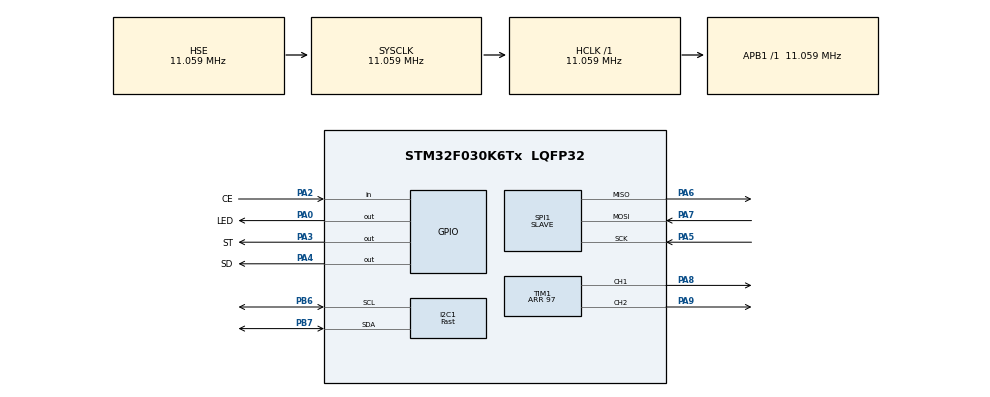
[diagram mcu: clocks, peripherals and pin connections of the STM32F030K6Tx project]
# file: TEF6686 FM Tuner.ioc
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Dma.Request0=TIM16_CH1/UP
Dma.Request1=TIM1_CH3/UP
Dma.TIM16_CH1/UP.0.Direction=DMA_MEMORY_TO_PERIPH
Dma.TIM16_CH1/UP.0.Instance=DMA1_Channel4
Dma.TIM16_CH1/UP.0.MemDataAlignment=DMA_MDATAALIGN_HALFWORD
Dma.TIM16_CH1/UP.0.MemInc=DMA_MINC_ENABLE
Dma.TIM16_CH1/UP.0.Mode=DMA_CIRCULAR
Dma.TIM16_CH1/UP.0.PeriphDataAlignment=DMA_PDATAALIGN_HALFWORD
Dma.TIM16_CH1/UP.0.PeriphInc=DMA_PINC_DISABLE
Dma.TIM16_CH1/UP.0.Priority=DMA_PRIORITY_LOW
Dma.TIM1_CH3/UP.1.Direction=DMA_MEMORY_TO_PERIPH
Dma.TIM1_CH3/UP.1.Instance=DMA1_Channel5
Dma.TIM1_CH3/UP.1.MemDataAlignment=DMA_MDATAALIGN_BYTE
Dma.TIM1_CH3/UP.1.MemInc=DMA_MINC_ENABLE
Dma.TIM1_CH3/UP.1.Mode=DMA_CIRCULAR
Dma.TIM1_CH3/UP.1.PeriphDataAlignment=DMA_PDATAALIGN_HALFWORD
Dma.TIM1_CH3/UP.1.PeriphInc=DMA_PINC_DISABLE
Dma.TIM1_CH3/UP.1.Priority=DMA_PRIORITY_LOW
I2C1.AddressingMode=I2C_ADDRESSINGMODE_7BIT
I2C1.Analog_Filter=I2C_ANALOGFILTER_ENABLE
I2C1.DualAddressMode=I2C_DUALADDRESS_DISABLE
I2C1.GeneralCallMode=I2C_GENERALCALL_DISABLE
I2C1.I2C_Coeff_DF=0
I2C1.I2C_Fall_Time=0
I2C1.I2C_Rise_Time=0
I2C1.I2C_Speed_Mode=I2C_Fast
I2C1.NoStretchMode=I2C_NOSTRETCH_DISABLE
I2C1.OwnAddress=0
I2C1.Speed=400
I2C1.Timing=0x00100411
Mcu.Family=STM32F0
Mcu.Name=STM32F030K6Tx
Mcu.Package=LQFP32
NVIC.DMA1_Channel4_5_IRQn=true\:3\:0\:true\:false\:true\:false\:true
NVIC.SPI1_IRQn=true\:1\:0\:true\:false\:false\:true\:false
PA0.GPIO_Label=LED
PA0.Signal=GPIO_Output
PA2.GPIO_Label=CE
PA2.Signal=GPIO_Input
PA3.GPIO_Label=ST
PA3.GPIO_ModeDefaultOutputPP=GPIO_MODE_OUTPUT_PP
PA3.GPIO_PuPd=GPIO_NOPULL
PA3.GPIO_Speed=GPIO_SPEED_FREQ_LOW
PA3.PinState=GPIO_PIN_RESET
PA3.Signal=GPIO_Output
PA4.GPIO_Label=SD
PA4.Signal=GPIO_Output
PA5.GPIO_Mode=GPIO_MODE_AF_PP
PA5.GPIO_PuPd=GPIO_NOPULL
PA5.GPIO_Speed=GPIO_SPEED_FREQ_LOW
PA5.Mode=Full_Duplex_Slave
PA5.Signal=SPI1_SCK
PA6.GPIO_Mode=GPIO_MODE_AF_PP
PA6.GPIO_PuPd=GPIO_NOPULL
PA6.GPIO_Speed=GPIO_SPEED_FREQ_LOW
PA6.Mode=Full_Duplex_Slave
PA6.Signal=SPI1_MISO
PA7.GPIO_Mode=GPIO_MODE_AF_PP
PA7.GPIO_PuPd=GPIO_NOPULL
PA7.GPIO_Speed=GPIO_SPEED_FREQ_LOW
PA7.Mode=Full_Duplex_Slave
PA7.Signal=SPI1_MOSI
PA8.Signal=S_TIM1_CH1
PA9.Signal=S_TIM1_CH2
PB6.GPIO_FMA9=__NULL
PB6.GPIO_Mode=GPIO_MODE_AF_OD
PB6.GPIO_PuPdOD=GPIO_PULLUP
PB6.GPIO_Speed=GPIO_SPEED_FREQ_LOW
PB6.Mode=I2C
PB6.Signal=I2C1_SCL
PB7.GPIO_FMA10=__NULL
PB7.GPIO_Mode=GPIO_MODE_AF_OD
PB7.GPIO_PuPdOD=GPIO_PULLUP
PB7.GPIO_Speed=GPIO_SPEED_FREQ_LOW
PB7.Mode=I2C
PB7.Signal=I2C1_SDA
PF0-OSC_IN.Mode=HSE-External-Oscillator
PF0-OSC_IN.Signal=RCC_OSC_IN
PF1-OSC_OUT.Mode=HSE-External-Oscillator
PF1-OSC_OUT.Signal=RCC_OSC_OUT
ProjectManager.HeapSize=0x200
ProjectManager.StackSize=0x400
ProjectManager.TargetToolchain=EWARM V8.32
RCC.AHBFreq_Value=11059200
RCC.APB1Freq_Value=11059200
RCC.APB1TimFreq_Value=11059200
RCC.HCLKFreq_Value=11059200
RCC.HSE_VALUE=11059200
RCC.I2c1ClockSelection=RCC_I2C1CLKSOURCE_SYSCLK
RCC.SYSCLKFreq_VALUE=11059200
RCC.SYSCLKSource=RCC_SYSCLKSOURCE_HSE
SH.S_TIM1_CH1.0=TIM1_CH1,PWM Generation1 CH1
SH.S_TIM1_CH2.0=TIM1_CH2,PWM Generation2 CH2
SPI1.CLKPhase=SPI_PHASE_2EDGE
SPI1.CLKPolarity=SPI_POLARITY_HIGH
SPI1.CRCCalculation=SPI_CRCCALCULATION_DISABLE
SPI1.DataSize=SPI_DATASIZE_8BIT
SPI1.Direction=SPI_DIRECTION_2LINES
SPI1.FirstBit=SPI_FIRSTBIT_LSB
SPI1.Mode=SPI_MODE_SLAVE
SPI1.NSS=SPI_NSS_SOFT
SPI1.TIMode=SPI_TIMODE_DISABLE
SPI1.VirtualType=VM_SLAVE
TIM1.Channel-PWM\ Generation1\ CH1=TIM_CHANNEL_1
TIM1.Channel-PWM\ Generation2\ CH2=TIM_CHANNEL_2
TIM1.CounterMode=TIM_COUNTERMODE_CENTERALIGNED1
TIM1.Period=97
TIM1.Pulse-PWM\ Generation1\ CH1=0
TIM1.Pulse-PWM\ Generation2\ CH2=0
TIM1.RepetitionCounter=1
TIM16.Channel=TIM_CHANNEL_1
TIM16.Period=4655
TIM16.Pulse=2715
VP_TIM16_VS_ClockSourceINT.Mode=Enable_Timer
VP_TIM16_VS_no_output1.Mode=PWM Generation1 No Output
board=custom

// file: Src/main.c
/* USER CODE BEGIN Header */
/**
  ******************************************************************************
  * @file           : main.c
  * @brief          : Main program body
  ******************************************************************************
  * @attention
  *
  * <h2><center>&copy; Copyright (c) 2019 STMicroelectronics.
  * All rights reserved.</center></h2>
  *
  * This software component is licensed by ST under BSD 3-Clause license,
  * the "License"; You may not use this file except in compliance with the
  * License. You may obtain a copy of the License at:
  *                        opensource.org/licenses/BSD-3-Clause
  *
  ******************************************************************************
  */
/* USER CODE END Header */

#include "main.h"

/* USER CODE BEGIN PTD */
typedef struct
{
  uint32_t address;
  uint8_t data[3];
  uint32_t bytes_received;
} ccb_t;

typedef enum
{
  MONO,
  STEREO
} tuner_mode;
/* USER CODE END PTD */

I2C_HandleTypeDef hi2c1;

TIM_HandleTypeDef htim1;
TIM_HandleTypeDef htim16;
DMA_HandleTypeDef hdma_tim1_ch3_up;
DMA_HandleTypeDef hdma_tim16_ch1_up;

/* USER CODE BEGIN PV */

//const uint8_t ccb_if_counter[] = {0x58, 0xCE, 0x80}; // bit-reversed from 0x1A7300+1 (IF=10,7MHz)
const uint8_t ccb_if_counter[] = {0x58, 0x66, 0x81}; // bit-reversed from 0x1A6680+1 (IF=10,65MHz, real value read from my Technics SA-EH570)

bool radio_tuned = true;
volatile uint32_t tuner_frequency_new = 0;
uint32_t tuner_frequency_prev = 0;
volatile tuner_mode tuner_mode_new = STEREO;
tuner_mode tuner_mode_prev = STEREO;
uint32_t stereo_detection_delay_counter = 0;
bool stereo_detection_enabled = false;

volatile ccb_t ccb = {0};
//volatile uint32_t ccb_bytes_received = 0;

extern HAL_StatusTypeDef status;
extern uint8_t radio_response[16];

#ifdef __CCB_DEBUG__
uint8_t ccb_captured_data[36];
#endif
/* USER CODE END PV */

void SystemClock_Config(void);
static void MX_GPIO_Init(void);
static void MX_DMA_Init(void);
static void MX_I2C1_Init(void);
static void MX_SPI1_Init(void);
static void MX_TIM1_Init(void);
static void MX_TIM16_Init(void);

/* USER CODE BEGIN 0 */
void quality_indicator( bool enabled )
{
  // just green LED indicator used to control signal quality
  HAL_GPIO_WritePin( ST_GPIO_Port, LED_Pin, enabled ? GPIO_PIN_SET : GPIO_PIN_RESET );
}

void tuned_indicator( bool enabled )
{
  // set SD=0 to indicate that the carrier is detected
  HAL_GPIO_WritePin( SD_GPIO_Port, SD_Pin, enabled ? GPIO_PIN_RESET : GPIO_PIN_SET );
  quality_indicator( enabled );
}

void stereo_indicator( bool enabled )
{
  // DO/ST line has two main purposes:
  // 1) stereo indicator when radio is tuned (ST=0 when pilot tone is detected)
  // 2) IF counter stop flag when radio tune is in progress (DO=0 when counter is stopped)
  HAL_GPIO_WritePin( ST_GPIO_Port, ST_Pin, enabled ? GPIO_PIN_RESET : GPIO_PIN_SET );
}

//void HAL_TIM_PWM_PulseFinishedHalfCpltCallback(TIM_HandleTypeDef *htim)
//void HAL_TIM_PWM_PulseFinishedCallback(TIM_HandleTypeDef *htim)

void HAL_TIM_PeriodElapsedHalfCpltCallback(TIM_HandleTypeDef *htim)
{
  if( htim->Instance == TIM1 )
    create_waveform( 1 ); // rewrite first section
}

void HAL_TIM_PeriodElapsedCallback(TIM_HandleTypeDef *htim)
{
  if( htim->Instance == TIM1 )
    create_waveform( 2 ); // rewrite second section
}

void SPI1_IRQHandler() // this interrupt must have the highest priority level to correctly detect CE line state
{
  if( HAL_GPIO_ReadPin( CE_GPIO_Port, CE_Pin ) == GPIO_PIN_RESET ) // address
  {
    ccb.address = LL_SPI_ReceiveData8( SPI1 );
    ccb.bytes_received = 0;

    if( ccb.address == 0x2A ) // IF counter read requested
    {
      ccb.address = 0;

      LL_SPI_TransmitData8( SPI1, ccb_if_counter[0] );
      LL_SPI_TransmitData8( SPI1, ccb_if_counter[1] );
      LL_SPI_TransmitData8( SPI1, ccb_if_counter[2] );

      stereo_indicator( false );
    }
  }
  else // data
  {
    if( ccb.bytes_received < 3 )
    {
      ccb.data[ccb.bytes_received] = LL_SPI_ReceiveData8( SPI1 );
      ccb.bytes_received++;
    }

    if( ccb.bytes_received == 3 )
    {
      if( ccb.address == 0x28 && ccb.data[2] == 0x3B ) // tuner frequency set
      {
        tuner_frequency_new = *(uint16_t*)&ccb.data[0];
      }
      else if(ccb.address == 0x28 && ccb.data[2] == 0x3F ) // IF count started
      {
        stereo_indicator( true ); // used here as the IF counter stop flag, triggers IF counter read operation
      }
      else if( ccb.address == 0x29 && ccb.data[1] == 0x00 && ccb.data[2] == 0x13 ) // mono/stereo selection performed
      {
        if( ccb.data[0] == 0xAF )
          tuner_mode_new = MONO;
        else if( ccb.data[0] == 0xA7 )
          tuner_mode_new = STEREO;
      }
    }
  }
}
/* USER CODE END 0 */

int main(void)
{

  /* MCU Configuration--------------------------------------------------------*/

  /* Reset of all peripherals, Initializes the Flash interface and the Systick. */
  HAL_Init();

  /* Configure the system clock */
  SystemClock_Config();

  /* Initialize all configured peripherals */
  MX_GPIO_Init();
  MX_DMA_Init();
  MX_I2C1_Init();
  MX_SPI1_Init();
  MX_TIM1_Init();
  MX_TIM16_Init();
  /* USER CODE BEGIN 2 */

  HAL_Delay( 50 ); // delay for correct powerup

  // CCB is not fully compatible with SPI
  // When the main module has been powered on, CCB bus clock line has an incorrect idle value = 0
  // so all next readings will be erroneously shifted by 1 bit
  // Lets skip the first 7 pulses to keep SPI syncing in a right way
  // It is really convenient that we can read the AF pin as usual I/O
  if( HAL_GPIO_ReadPin(CCB_CL_PORT, CCB_CL) == GPIO_PIN_RESET )
  {
    while( (CCB_CL_PORT->IDR & CCB_CL) == 0 );

    for( int i = 0; i < 7; i++ )
    {
      while( (CCB_CL_PORT->IDR & CCB_CL) != 0 );
      while( (CCB_CL_PORT->IDR & CCB_CL) == 0 );
    }
  }

  LL_SPI_Enable( SPI1 ); // Enable SPI as soon as possible to keep the bus in sync with the main CPU
  LL_SPI_EnableIT_RXNE( SPI1 );
  LL_SPI_TransmitData8( SPI1, 0xFF ); // switch MISO/DO to high level as a default
  stereo_indicator( false );

  if( radio_get_status() == 0x0000 ) // if radio is not initialized yet
    radio_init();

  radio_set_freq( 10620 );
  rds_init( &htim1, &htim16 );

#ifdef __CCB_DEBUG__
  uint32_t i = 0;
  LL_SPI_DisableIT_RXNE( SPI1 );

  while(1)
  {
    // use ST-LINK debugger to stop the loop and view captured data
    if( LL_SPI_GetRxFIFOLevel(SPI1) != LL_SPI_RX_FIFO_EMPTY )
    {
      ccb_captured_data[i++] = LL_SPI_ReceiveData8( SPI1 );

      if( i == sizeof(ccb_captured_data) )
        i = 0;
    }
  }
#endif

#ifdef __RADIO_DEBUG__
  bool led = false;
  uint16_t level, usn, wam;

  while(1)
  {
    radio_set_freq( 10500 );
    HAL_Delay( 50 );
    uint16_t status = radio_get_quality_status();
    radio_set_freq( 10570 );
    HAL_Delay( 50 );
    status = radio_get_quality_status();
    // use ST-LINK debugger to stop the loop and show signal level
    led = radio_station_detected();
    quality_indicator( led );
    level = swap( &radio_response[4] ); // RADIO_LEVEL_THRESHOLD > 300
    usn = swap( &radio_response[6] ); // RADIO_USN_THRESHOLD < 270
    wam = swap( &radio_response[8] ); // RADIO_WAM_THRESHOLD < 230

    HAL_Delay( 100 );
  }
#endif

  /* USER CODE END 2 */

  /* Infinite loop */
  /* USER CODE BEGIN WHILE */
  while (1)
  {
    uint32_t tick = HAL_GetTick();
    /* USER CODE END WHILE */

    /* USER CODE BEGIN 3 */
    if( tuner_mode_new != tuner_mode_prev )
    {
      tuner_mode_prev = tuner_mode_new;
      // It is not needed to force mono mode manually because radio will aggressively force it in case of poor signal detection
      // So MONO button will switch off the digital signal enhancement features. It is useful for antenna setup
      radio_set_improvement( tuner_mode_new == STEREO );
      //radio_set_stereo( tuner_mode_new == STEREO );
    }

    if( tuner_frequency_new != tuner_frequency_prev )
    {
      tuner_frequency_prev = tuner_frequency_new;
      radio_set_freq( (tuner_frequency_new * 25 * 2 - VIRTUAL_IF_FREQUENCY) / 10 );

      tuned_indicator( false );
      stereo_indicator( false );
      radio_tuned = false;
      stereo_detection_enabled = false;
      stereo_detection_delay_counter = tick;
      rds_clear();
    }

    if( !radio_tuned && (tick % RADIO_TUNE_POLL_INTERVAL == 0) )
    {
      if( radio_get_quality_status() == 1000 )
      {
        radio_tuned = true;
        tuned_indicator( radio_station_detected() );
      }
    }

    if( radio_tuned && !stereo_detection_enabled && (tick - stereo_detection_delay_counter > STEREO_DETECTION_DELAY) )
      stereo_detection_enabled = true;

    if( stereo_detection_enabled && (tick % RADIO_STEREO_POLL_INTERVAL == 0) )
      stereo_indicator( radio_get_signal_status() == 0x8000 );

    if( stereo_detection_enabled && (tick % RADIO_RDS_POLL_INTERVAL == 0) )
    {
      radio_get_rds_data();

      // if data available, full group data received and decoder synchronized
      if( (radio_response[2] & 0xA2) == 0x82) // 10100010b
        // if no errors in any group or there were small errors that were corrected
        if( (radio_response[12] & 0xAA) == 0x00 ) // 10101010b
          rds_add( radio_response );
    }

    if( stereo_detection_enabled && (tuner_mode_new == MONO) && (tick % RADIO_QUALITY_POLL_INTERVAL == 0) )
       quality_indicator( radio_station_detected() );

    while( HAL_GetTick() == tick )
      HAL_PWR_EnterSLEEPMode( PWR_MAINREGULATOR_ON, PWR_SLEEPENTRY_WFI );
  }
  /* USER CODE END 3 */
}

void SystemClock_Config(void)
{
  RCC_OscInitTypeDef RCC_OscInitStruct = {0};
  RCC_ClkInitTypeDef RCC_ClkInitStruct = {0};
  RCC_PeriphCLKInitTypeDef PeriphClkInit = {0};

  /** Initializes the CPU, AHB and APB busses clocks
  */
  RCC_OscInitStruct.OscillatorType = RCC_OSCILLATORTYPE_HSE;
  RCC_OscInitStruct.HSEState = RCC_HSE_ON;
  RCC_OscInitStruct.PLL.PLLState = RCC_PLL_NONE;
  if (HAL_RCC_OscConfig(&RCC_OscInitStruct) != HAL_OK)
  {
    Error_Handler();
  }
  /** Initializes the CPU, AHB and APB busses clocks
  */
  RCC_ClkInitStruct.ClockType = RCC_CLOCKTYPE_HCLK|RCC_CLOCKTYPE_SYSCLK
                              |RCC_CLOCKTYPE_PCLK1;
  RCC_ClkInitStruct.SYSCLKSource = RCC_SYSCLKSOURCE_HSE;
  RCC_ClkInitStruct.AHBCLKDivider = RCC_SYSCLK_DIV1;
  RCC_ClkInitStruct.APB1CLKDivider = RCC_HCLK_DIV1;

  if (HAL_RCC_ClockConfig(&RCC_ClkInitStruct, FLASH_LATENCY_0) != HAL_OK)
  {
    Error_Handler();
  }
  PeriphClkInit.PeriphClockSelection = RCC_PERIPHCLK_I2C1;
  PeriphClkInit.I2c1ClockSelection = RCC_I2C1CLKSOURCE_SYSCLK;
  if (HAL_RCCEx_PeriphCLKConfig(&PeriphClkInit) != HAL_OK)
  {
    Error_Handler();
  }
}

static void MX_I2C1_Init(void)
{

  hi2c1.Instance = I2C1;
  hi2c1.Init.Timing = 0x00100411;
  hi2c1.Init.OwnAddress1 = 0;
  hi2c1.Init.AddressingMode = I2C_ADDRESSINGMODE_7BIT;
  hi2c1.Init.DualAddressMode = I2C_DUALADDRESS_DISABLE;
  hi2c1.Init.OwnAddress2 = 0;
  hi2c1.Init.OwnAddress2Masks = I2C_OA2_NOMASK;
  hi2c1.Init.GeneralCallMode = I2C_GENERALCALL_DISABLE;
  hi2c1.Init.NoStretchMode = I2C_NOSTRETCH_DISABLE;
  if (HAL_I2C_Init(&hi2c1) != HAL_OK)
  {
    Error_Handler();
  }
  /** Configure Analogue filter
  */
  if (HAL_I2CEx_ConfigAnalogFilter(&hi2c1, I2C_ANALOGFILTER_ENABLE) != HAL_OK)
  {
    Error_Handler();
  }
  /** Configure Digital filter
  */
  if (HAL_I2CEx_ConfigDigitalFilter(&hi2c1, 0) != HAL_OK)
  {
    Error_Handler();
  }

}

static void MX_SPI1_Init(void)
{

  LL_SPI_InitTypeDef SPI_InitStruct = {0};

  LL_GPIO_InitTypeDef GPIO_InitStruct = {0};

  /* Peripheral clock enable */
  LL_APB1_GRP2_EnableClock(LL_APB1_GRP2_PERIPH_SPI1);

  LL_AHB1_GRP1_EnableClock(LL_AHB1_GRP1_PERIPH_GPIOA);
  /**SPI1 GPIO Configuration
  PA5   ------> SPI1_SCK
  PA6   ------> SPI1_MISO
  PA7   ------> SPI1_MOSI
  */
  GPIO_InitStruct.Pin = LL_GPIO_PIN_5;
  GPIO_InitStruct.Mode = LL_GPIO_MODE_ALTERNATE;
  GPIO_InitStruct.Speed = LL_GPIO_SPEED_FREQ_LOW;
  GPIO_InitStruct.OutputType = LL_GPIO_OUTPUT_PUSHPULL;
  GPIO_InitStruct.Pull = LL_GPIO_PULL_NO;
  GPIO_InitStruct.Alternate = LL_GPIO_AF_0;
  LL_GPIO_Init(GPIOA, &GPIO_InitStruct);

  GPIO_InitStruct.Pin = LL_GPIO_PIN_6;
  GPIO_InitStruct.Mode = LL_GPIO_MODE_ALTERNATE;
  GPIO_InitStruct.Speed = LL_GPIO_SPEED_FREQ_LOW;
  GPIO_InitStruct.OutputType = LL_GPIO_OUTPUT_PUSHPULL;
  GPIO_InitStruct.Pull = LL_GPIO_PULL_NO;
  GPIO_InitStruct.Alternate = LL_GPIO_AF_0;
  LL_GPIO_Init(GPIOA, &GPIO_InitStruct);

  GPIO_InitStruct.Pin = LL_GPIO_PIN_7;
  GPIO_InitStruct.Mode = LL_GPIO_MODE_ALTERNATE;
  GPIO_InitStruct.Speed = LL_GPIO_SPEED_FREQ_LOW;
  GPIO_InitStruct.OutputType = LL_GPIO_OUTPUT_PUSHPULL;
  GPIO_InitStruct.Pull = LL_GPIO_PULL_NO;
  GPIO_InitStruct.Alternate = LL_GPIO_AF_0;
  LL_GPIO_Init(GPIOA, &GPIO_InitStruct);

  /* SPI1 interrupt Init */
  NVIC_SetPriority(SPI1_IRQn, 1);
  NVIC_EnableIRQ(SPI1_IRQn);

  /* SPI1 parameter configuration*/
  SPI_InitStruct.TransferDirection = LL_SPI_FULL_DUPLEX;
  SPI_InitStruct.Mode = LL_SPI_MODE_SLAVE;
  SPI_InitStruct.DataWidth = LL_SPI_DATAWIDTH_8BIT;
  SPI_InitStruct.ClockPolarity = LL_SPI_POLARITY_HIGH;
  SPI_InitStruct.ClockPhase = LL_SPI_PHASE_2EDGE;
  SPI_InitStruct.NSS = LL_SPI_NSS_SOFT;
  SPI_InitStruct.BitOrder = LL_SPI_LSB_FIRST;
  SPI_InitStruct.CRCCalculation = LL_SPI_CRCCALCULATION_DISABLE;
  SPI_InitStruct.CRCPoly = 7;
  LL_SPI_Init(SPI1, &SPI_InitStruct);
  LL_SPI_SetStandard(SPI1, LL_SPI_PROTOCOL_MOTOROLA);
  LL_SPI_DisableNSSPulseMgt(SPI1);
  /* USER CODE BEGIN SPI1_Init 2 */
  LL_SPI_SetRxFIFOThreshold( SPI1, LL_SPI_RX_FIFO_TH_QUARTER );
  /* USER CODE END SPI1_Init 2 */

}

static void MX_TIM1_Init(void)
{

  TIM_MasterConfigTypeDef sMasterConfig = {0};
  TIM_OC_InitTypeDef sConfigOC = {0};
  TIM_BreakDeadTimeConfigTypeDef sBreakDeadTimeConfig = {0};

  htim1.Instance = TIM1;
  htim1.Init.Prescaler = 0;
  htim1.Init.CounterMode = TIM_COUNTERMODE_CENTERALIGNED1;
  htim1.Init.Period = 97;
  htim1.Init.ClockDivision = TIM_CLOCKDIVISION_DIV1;
  htim1.Init.RepetitionCounter = 1;
  htim1.Init.AutoReloadPreload = TIM_AUTORELOAD_PRELOAD_DISABLE;
  if (HAL_TIM_PWM_Init(&htim1) != HAL_OK)
  {
    Error_Handler();
  }
  sMasterConfig.MasterOutputTrigger = TIM_TRGO_RESET;
  sMasterConfig.MasterSlaveMode = TIM_MASTERSLAVEMODE_DISABLE;
  if (HAL_TIMEx_MasterConfigSynchronization(&htim1, &sMasterConfig) != HAL_OK)
  {
    Error_Handler();
  }
  sConfigOC.OCMode = TIM_OCMODE_PWM1;
  sConfigOC.Pulse = 0;
  sConfigOC.OCPolarity = TIM_OCPOLARITY_HIGH;
  sConfigOC.OCNPolarity = TIM_OCNPOLARITY_HIGH;
  sConfigOC.OCFastMode = TIM_OCFAST_DISABLE;
  sConfigOC.OCIdleState = TIM_OCIDLESTATE_RESET;
  sConfigOC.OCNIdleState = TIM_OCNIDLESTATE_RESET;
  if (HAL_TIM_PWM_ConfigChannel(&htim1, &sConfigOC, TIM_CHANNEL_1) != HAL_OK)
  {
    Error_Handler();
  }
  if (HAL_TIM_PWM_ConfigChannel(&htim1, &sConfigOC, TIM_CHANNEL_2) != HAL_OK)
  {
    Error_Handler();
  }
  sBreakDeadTimeConfig.OffStateRunMode = TIM_OSSR_DISABLE;
  sBreakDeadTimeConfig.OffStateIDLEMode = TIM_OSSI_DISABLE;
  sBreakDeadTimeConfig.LockLevel = TIM_LOCKLEVEL_OFF;
  sBreakDeadTimeConfig.DeadTime = 0;
  sBreakDeadTimeConfig.BreakState = TIM_BREAK_DISABLE;
  sBreakDeadTimeConfig.BreakPolarity = TIM_BREAKPOLARITY_HIGH;
  sBreakDeadTimeConfig.AutomaticOutput = TIM_AUTOMATICOUTPUT_DISABLE;
  if (HAL_TIMEx_ConfigBreakDeadTime(&htim1, &sBreakDeadTimeConfig) != HAL_OK)
  {
    Error_Handler();
  }
  HAL_TIM_MspPostInit(&htim1);

}

static void MX_TIM16_Init(void)
{

  TIM_OC_InitTypeDef sConfigOC = {0};
  TIM_BreakDeadTimeConfigTypeDef sBreakDeadTimeConfig = {0};

  htim16.Instance = TIM16;
  htim16.Init.Prescaler = 0;
  htim16.Init.CounterMode = TIM_COUNTERMODE_UP;
  htim16.Init.Period = 4655;
  htim16.Init.ClockDivision = TIM_CLOCKDIVISION_DIV1;
  htim16.Init.RepetitionCounter = 0;
  htim16.Init.AutoReloadPreload = TIM_AUTORELOAD_PRELOAD_DISABLE;
  if (HAL_TIM_Base_Init(&htim16) != HAL_OK)
  {
    Error_Handler();
  }
  if (HAL_TIM_PWM_Init(&htim16) != HAL_OK)
  {
    Error_Handler();
  }
  sConfigOC.OCMode = TIM_OCMODE_PWM1;
  sConfigOC.Pulse = 2715;
  sConfigOC.OCPolarity = TIM_OCPOLARITY_HIGH;
  sConfigOC.OCNPolarity = TIM_OCNPOLARITY_HIGH;
  sConfigOC.OCFastMode = TIM_OCFAST_DISABLE;
  sConfigOC.OCIdleState = TIM_OCIDLESTATE_RESET;
  sConfigOC.OCNIdleState = TIM_OCNIDLESTATE_RESET;
  if (HAL_TIM_PWM_ConfigChannel(&htim16, &sConfigOC, TIM_CHANNEL_1) != HAL_OK)
  {
    Error_Handler();
  }
  sBreakDeadTimeConfig.OffStateRunMode = TIM_OSSR_DISABLE;
  sBreakDeadTimeConfig.OffStateIDLEMode = TIM_OSSI_DISABLE;
  sBreakDeadTimeConfig.LockLevel = TIM_LOCKLEVEL_OFF;
  sBreakDeadTimeConfig.DeadTime = 0;
  sBreakDeadTimeConfig.BreakState = TIM_BREAK_DISABLE;
  sBreakDeadTimeConfig.BreakPolarity = TIM_BREAKPOLARITY_HIGH;
  sBreakDeadTimeConfig.AutomaticOutput = TIM_AUTOMATICOUTPUT_DISABLE;
  if (HAL_TIMEx_ConfigBreakDeadTime(&htim16, &sBreakDeadTimeConfig) != HAL_OK)
  {
    Error_Handler();
  }

}

static void MX_DMA_Init(void)
{

  /* DMA controller clock enable */
  __HAL_RCC_DMA1_CLK_ENABLE();

  /* DMA interrupt init */
  /* DMA1_Channel4_5_IRQn interrupt configuration */
  HAL_NVIC_SetPriority(DMA1_Channel4_5_IRQn, 3, 0);
  HAL_NVIC_EnableIRQ(DMA1_Channel4_5_IRQn);

}

static void MX_GPIO_Init(void)
{
  GPIO_InitTypeDef GPIO_InitStruct = {0};

  /* GPIO Ports Clock Enable */
  __HAL_RCC_GPIOF_CLK_ENABLE();
  __HAL_RCC_GPIOA_CLK_ENABLE();
  __HAL_RCC_GPIOB_CLK_ENABLE();

  /*Configure GPIO pin Output Level */
  HAL_GPIO_WritePin(GPIOA, LED_Pin|ST_Pin|SD_Pin, GPIO_PIN_RESET);

  /*Configure GPIO pins : LED_Pin ST_Pin SD_Pin */
  GPIO_InitStruct.Pin = LED_Pin|ST_Pin|SD_Pin;
  GPIO_InitStruct.Mode = GPIO_MODE_OUTPUT_PP;
  GPIO_InitStruct.Pull = GPIO_NOPULL;
  GPIO_InitStruct.Speed = GPIO_SPEED_FREQ_LOW;
  HAL_GPIO_Init(GPIOA, &GPIO_InitStruct);

  /*Configure GPIO pin : CE_Pin */
  GPIO_InitStruct.Pin = CE_Pin;
  GPIO_InitStruct.Mode = GPIO_MODE_INPUT;
  GPIO_InitStruct.Pull = GPIO_NOPULL;
  HAL_GPIO_Init(CE_GPIO_Port, &GPIO_InitStruct);

}

void Error_Handler(void)
{
  /* USER CODE BEGIN Error_Handler_Debug */
  /* User can add his own implementation to report the HAL error return state */

  while(1)
  {
    HAL_GPIO_TogglePin( LED_GPIO_Port, LED_Pin );
    for( volatile int i = 0; i < 50000; i++ );
  }

  NVIC_SystemReset();

  /* USER CODE END Error_Handler_Debug */
}

#ifdef  USE_FULL_ASSERT
/**
  * @brief  Reports the name of the source file and the source line number
  *         where the assert_param error has occurred.
  * @param  file: pointer to the source file name
  * @param  line: assert_param error line source number
  * @retval None
  */
void assert_failed(uint8_t *file, uint32_t line)
{
  /* USER CODE BEGIN 6 */
  /* User can add his own implementation to report the file name and line number,
     tex: printf("Wrong parameters value: file %s on line %d\r\n", file, line) */

  Error_Handler();

  /* USER CODE END 6 */
}
#endif /* USE_FULL_ASSERT */

/************************ (C) COPYRIGHT STMicroelectronics *****END OF FILE****/
